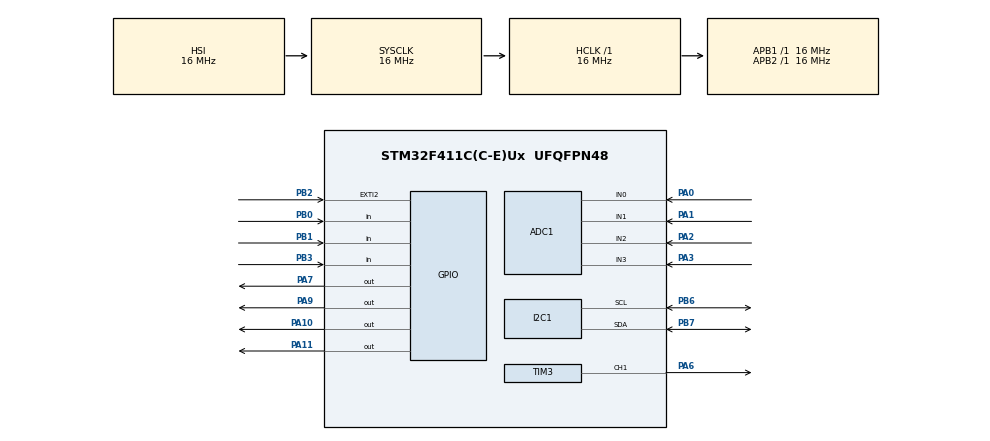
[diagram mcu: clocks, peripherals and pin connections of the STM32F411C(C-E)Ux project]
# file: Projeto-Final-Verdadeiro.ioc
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ADC1.Channel-0\#ChannelRegularConversion=ADC_CHANNEL_0
ADC1.Channel-1\#ChannelRegularConversion=ADC_CHANNEL_1
ADC1.Channel-2\#ChannelRegularConversion=ADC_CHANNEL_2
ADC1.Channel-3\#ChannelRegularConversion=ADC_CHANNEL_3
ADC1.DMAContinuousRequests=ENABLE
ADC1.ExternalTrigConv=ADC_EXTERNALTRIGCONV_T2_TRGO
ADC1.NbrOfConversion=4
ADC1.NbrOfConversionFlag=1
ADC1.Rank-0\#ChannelRegularConversion=1
ADC1.Rank-1\#ChannelRegularConversion=2
ADC1.Rank-2\#ChannelRegularConversion=3
ADC1.Rank-3\#ChannelRegularConversion=4
ADC1.SamplingTime-0\#ChannelRegularConversion=ADC_SAMPLETIME_3CYCLES
ADC1.SamplingTime-1\#ChannelRegularConversion=ADC_SAMPLETIME_3CYCLES
ADC1.SamplingTime-2\#ChannelRegularConversion=ADC_SAMPLETIME_3CYCLES
ADC1.SamplingTime-3\#ChannelRegularConversion=ADC_SAMPLETIME_3CYCLES
ADC1.ScanConvMode=ENABLE
ADC1.master=1
Dma.ADC1.0.Direction=DMA_PERIPH_TO_MEMORY
Dma.ADC1.0.FIFOMode=DMA_FIFOMODE_DISABLE
Dma.ADC1.0.Instance=DMA2_Stream0
Dma.ADC1.0.MemDataAlignment=DMA_MDATAALIGN_HALFWORD
Dma.ADC1.0.MemInc=DMA_MINC_ENABLE
Dma.ADC1.0.Mode=DMA_CIRCULAR
Dma.ADC1.0.PeriphDataAlignment=DMA_PDATAALIGN_HALFWORD
Dma.ADC1.0.PeriphInc=DMA_PINC_DISABLE
Dma.ADC1.0.Priority=DMA_PRIORITY_LOW
Dma.Request0=ADC1
Mcu.Family=STM32F4
Mcu.Name=STM32F411C(C-E)Ux
Mcu.Package=UFQFPN48
NVIC.DMA2_Stream0_IRQn=true\:0\:0\:false\:false\:true\:false\:true\:true
NVIC.PriorityGroup=NVIC_PRIORITYGROUP_4
NVIC.TIM4_IRQn=true\:0\:0\:false\:false\:true\:true\:true\:true
PA0-WKUP.Signal=ADCx_IN0
PA1.Signal=ADCx_IN1
PA10.Signal=GPIO_Output
PA11.Signal=GPIO_Output
PA2.Signal=ADCx_IN2
PA3.Signal=ADCx_IN3
PA6.Signal=S_TIM3_CH1
PA7.Signal=GPIO_Output
PA9.Signal=GPIO_Output
PB0.Signal=GPIO_Input
PB1.Signal=GPIO_Input
PB2.Signal=GPXTI2
PB3.Signal=GPIO_Input
PB6.Mode=I2C
PB6.Signal=I2C1_SCL
PB7.Mode=I2C
PB7.Signal=I2C1_SDA
PC14-OSC32_IN.Mode=LSE-External-Oscillator
PC14-OSC32_IN.Signal=RCC_OSC32_IN
PC15-OSC32_OUT.Mode=LSE-External-Oscillator
PC15-OSC32_OUT.Signal=RCC_OSC32_OUT
PH0\ -\ OSC_IN.Mode=HSE-External-Oscillator
PH0\ -\ OSC_IN.Signal=RCC_OSC_IN
PH1\ -\ OSC_OUT.Mode=HSE-External-Oscillator
PH1\ -\ OSC_OUT.Signal=RCC_OSC_OUT
ProjectManager.HeapSize=0x200
ProjectManager.StackSize=0x400
ProjectManager.TargetToolchain=STM32CubeIDE
RCC.AHBFreq_Value=16000000
RCC.APB1Freq_Value=16000000
RCC.APB2Freq_Value=16000000
RCC.CortexFreq_Value=16000000
RCC.HSE_VALUE=25000000
RCC.HSI_VALUE=16000000
RCC.SYSCLKFreq_VALUE=16000000
RCC.VCOOutputFreq_Value=192000000
SH.ADCx_IN0.0=ADC1_IN0,IN0
SH.ADCx_IN1.0=ADC1_IN1,IN1
SH.ADCx_IN2.0=ADC1_IN2,IN2
SH.ADCx_IN3.0=ADC1_IN3,IN3
SH.S_TIM3_CH1.0=TIM3_CH1,PWM Generation1 CH1
TIM2.Period=1599
TIM2.TIM_MasterOutputTrigger=TIM_TRGO_UPDATE
TIM2.TIM_MasterSlaveMode=TIM_MASTERSLAVEMODE_ENABLE
TIM3.Channel-PWM\ Generation1\ CH1=TIM_CHANNEL_1
TIM3.Period=15999
TIM4.Period=15999
TIM4.Prescaler=999
TIM4.TIM_MasterOutputTrigger=TIM_TRGO_UPDATE
VP_TIM2_VS_ClockSourceINT.Mode=Internal
VP_TIM3_VS_ClockSourceINT.Mode=Internal
VP_TIM4_VS_ClockSourceINT.Mode=Internal
board=custom

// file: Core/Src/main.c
/* USER CODE BEGIN Header */
/**
 ******************************************************************************
 * @file           : main.c
 * @brief          : Main program body (Medição de Tensão, Corrente e Potência True RMS)
 ******************************************************************************
 * @attention
 *
 * Copyright (c) 2025 STMicroelectronics.
 * All rights reserved.
 *
 * This software is licensed for use under terms that can be found in the LICENSE file
 * in the root directory of this software component.
 * If no LICENSE file comes with this software, is provided AS-IS.
 *
 ******************************************************************************
 */
/* USER CODE END Header */
#include "main.h"
#include "i2c_lcd.h"

/* USER CODE BEGIN Includes */
#include <math.h> // Necessário para sqrtf, fabsf (True RMS)
#include <stdlib.h> // Necessário para abs()
#include <string.h> // Necessário para comparação de strings (se for usada)
#include <stdio.h> // Necessário para snprintf (formatação de string para o LCD)
/* USER CODE END Includes */

/* USER CODE BEGIN PTD */
// Tipos de menu
typedef enum {
   WELCOME,      // Tela inicial (Esperando variação do Pot)
   SELECTION,    // Seleção de menu (Lendo Pot contínuo)
   LOCKED,       // Menu bloqueado (Esperando B3 para voltar)
   TARIFF_CONFIG // Configuração da Tarifa
} MenuState;
/* USER CODE END PTD */

/* USER CODE BEGIN PD */
// --- Parâmetros ---
// ADC_VALOR_MAXIMO (4095.0f)   // 12-bit ADC - utilizado para traduzir a leitura para corrente e tensão
//V_REF (3.3f)      // Tensão de referência do ADC (VCC a partir do qual ele apresenta os valores)
#define AMOSTRAS_POR_CICLO_DE_MEDICAO  (10000)      // Total de amostras por canal por janela de cálculo (aprox. 60 ciclos em 60Hz)
// --- Parâmetros de Gasto de Energia ---
#define TARIFF_MAX_VALUE    (1.50f)     // Valor máximo da tarifa (R$/kWh)
#define CALC_PERIOD_SECONDS (1.000f)    // Período de cálculo do TIM4 em segundos (~1.0s com a configuração atual)
#define FATOR_DE_CONVERSAO_PARA_KWH (1.0f / 3600000.0f) // Fator de conversão (1 / (3600 * 1000))
#define ADC_MAX_VALUE 4095
#define ADC_THRESHOLD (uint32_t)(ADC_MAX_VALUE * 0.05) // 5% de 4095 ≈ 204
// Definição dos pinos dos botões (PB0 e PB3 com PULL-UP)
#define BTN_SELECT_PIN GPIO_PIN_0 // B0
#define BTN_SELECT_PORT GPIOB
#define BTN_RETURN_PIN GPIO_PIN_3 // B3
#define BTN_RETURN_PORT GPIOB
#define BTN_CONFIG_PIN GPIO_PIN_1 // B1 - Botão de Acesso à Tarifa
#define BTN_CONFIG_PORT GPIOB
#define BLINK_PERIOD_MS 1000 // Período do piscar (1000ms = 1Hz)

/* USER CODE END PD */

ADC_HandleTypeDef hadc1;
DMA_HandleTypeDef hdma_adc1;

I2C_HandleTypeDef hi2c1;

TIM_HandleTypeDef htim2;
TIM_HandleTypeDef htim3;
TIM_HandleTypeDef htim4;

/* USER CODE BEGIN PV */
I2C_LCD_HandleTypeDef lcd1;

// --- Variáveis ---
uint16_t adc_buffer[AMOSTRAS_POR_CICLO_DE_MEDICAO * 4]; // 1. Buffer DMA para 4 canais (V, I, PA2/Menu, PA3/Tarifa)
char lcd_line_buffer[17];// Variável de buffer para a linha do LCD (16 caracteres + NULL)
float voltage_rms = 0.0f; // Tensão True RMS (Volts)
float voltage_avg = 0.0f; // Tensão Média Absoluta
float current_rms = 0.0f; // Corrente True RMS (Amperes)
float current_avg = 0.0f; // Corrente Média Absoluta
float apparent_power = 0.0f; // Potência Aparente (S - VA)
float active_power = 0.0f; // Potência Ativa (P - Watts)
float reactive_power = 0.0f; // Potência Reativa (Q - VAR)
float power_factor = 0.0f; // Fator de Potência (FP)
float energy_kwh = 0.0f;    // Energia Total Consumida Acumulada (kWh)
float energy_cost = 0.0f; // Custo Total Acumulado (R$)
float FATOR_DE_CORRECAO_DA_CORRENTE = 1.2;// Fator de escala para correção da corrente (V/ADC_V)
float FATOR_DE_CORRECAO_DA_TENSAO = 240; // Fator de escala para correção da Tensão (V/ADC_V)
float OFFSET_DO_MEDIDOR_DE_TENSAO = 3232.8;   // Ponto zero para o sensor de Tensão
float OFFSET_DA_CORRENTE = 2900.0; // Ponto zero para o sensor de corrente
uint16_t PONTO_ZERO_TENSAO_BRUTO = 0; // Leitura Média Bruta da Tensão (Para Calibrar OFFSET_DO_MEDIDOR_DE_TENSAO)
uint16_t PONTO_ZERO_CORRENTE_BRUTO = 0; // Leitura Média Bruta da Corrente (Para Calibrar OFFSET_DA_CORRENTE)
uint32_t current_menu_adc = 0; // Valor de 0 a 4095 (média do PA2) - Variáveis de Leitura dos Potenciômetros
uint32_t current_tarifa_adc = 0; // NOVO: Valor de 0 a 4095 (média do PA3)- Variáveis de Leitura dos Potenciômetros
// Variáveis do Menu
MenuState currentState = WELCOME;
uint32_t currentADCValue = 0; // Vai ser o 'current_menu_adc'
uint32_t lastADCValue = 0; // Vai ser o 'current_menu_adc' da leitura anterior
const char* selectedMenuText = ""; // Armazena a string selecionada quando B0 é pressionado (estado LOCKED)
const char* lastDisplayedMenuText = NULL;// VARIÁVEL ANTI-FLICKER.
// Variáveis de Tarifa
float tariff_value = 0.8458f; // Valor da tarifa SALVA (R$/kWh) - Inicializado com o valor anterior
float new_tariff_value_for_display = 0.0f; // Valor da tarifa em CONFIG (para ser ajustado)
// Variáveis dos Botões
uint32_t lastBtnSelectState = GPIO_PIN_SET; // B0
uint32_t lastBtnReturnState = GPIO_PIN_SET; // B3
uint32_t lastBtnConfigState = GPIO_PIN_SET; //  B1
uint32_t lastDebounceTime = 0;
/* USER CODE END PV */

void SystemClock_Config(void);
static void MX_GPIO_Init(void);
static void MX_DMA_Init(void);
static void MX_ADC1_Init(void);
static void MX_TIM4_Init(void);
static void MX_TIM2_Init(void);
static void MX_TIM3_Init(void);
static void MX_I2C1_Init(void);
/* USER CODE BEGIN PFP */
uint8_t checkButtons(void);
/* USER CODE END PFP */

/* USER CODE BEGIN 0 */
/**
 * @brief  Função de debounce e leitura dos botões (B0, B3 e B1).
 * @param  None
 * @retval 1 se BTN_SELECT (B0), 2 se BTN_RETURN (B3), 3 se BTN_CONFIG (B1), 0 caso contrário.
 */
uint8_t checkButtons(void)
{
   // Tempo atual
   uint32_t currentTick = HAL_GetTick();
   // Se o tempo decorrido desde o último debounce é menor que o DELAY 50, retorna 0 (Nenhum evento)
   if ((currentTick - lastDebounceTime) < 50) {
       return 0;
   }
   // 1=SELECT (B0), 2=RETURN (B3), 3=CONFIG (B1), 0=NONE
   uint8_t event = 0;

   // Checagem do Botão SELECT (B0)
   uint32_t currentBtnSelectState = HAL_GPIO_ReadPin(BTN_SELECT_PORT, BTN_SELECT_PIN);
   // B0 é pressionado (LOW)
   if (currentBtnSelectState != lastBtnSelectState) {
       // Se mudou de estado, e o estado atual é LOW (pressionado)
       if (currentBtnSelectState == GPIO_PIN_RESET) {
           // Evento de Pressionamento Detectado
           event = 1;
           lastDebounceTime = currentTick; // Atualiza o tempo para evitar múltiplos disparos
       }
   }
   lastBtnSelectState = currentBtnSelectState;

   // Checagem do Botão RETURN (B3)
   uint32_t currentBtnReturnState = HAL_GPIO_ReadPin(BTN_RETURN_PORT, BTN_RETURN_PIN);
   // B3 é pressionado
   if (currentBtnReturnState != lastBtnReturnState) {
       // Se mudou de estado
       if (currentBtnReturnState == GPIO_PIN_RESET) {
           // Evento de Pressionamento Detectado
           // B3 tem prioridade de "Return" ou "Exit"
           event = 2;
           lastDebounceTime = currentTick; // Atualiza o tempo para evitar múltiplos disparos
       }
   }
   lastBtnReturnState = currentBtnReturnState;

   // Checagem do Botão CONFIG (B1)
   uint32_t currentBtnConfigState = HAL_GPIO_ReadPin(BTN_CONFIG_PORT, BTN_CONFIG_PIN);
   // B1 é pressionado (LOW, pois usa PULL-UP)
   if (currentBtnConfigState != lastBtnConfigState) {
       // Se mudou de estado
       if (currentBtnConfigState == GPIO_PIN_RESET) {
           // Evento de Pressionamento Detectado
           event = 3; // Evento 3 para CONFIG
           lastDebounceTime = currentTick;
       }
   }
   lastBtnConfigState = currentBtnConfigState;

   return event;
}
/*
* Função de Callback do Timer: É chamada quando o TIM4 alcança o período (1.0s)
* para calcular todas as grandezas (RMS, Potência, Energia).
*/
void HAL_TIM_PeriodElapsedCallback(TIM_HandleTypeDef *htim)
{
	// Se a interrupção veio do TIM4 (nosso Timer de Janela de Cálculo)
	if (htim->Instance == TIM4)
	{
		// Acumuladores para Tensão e Corrente (RMS e Média)
		float v_sum_of_squares = 0.0f;
		float v_sum_of_absolute_values = 0.0f;
		float i_sum_of_squares = 0.0f;
		float i_sum_of_absolute_values = 0.0f;
		float p_sum_of_products = 0.0f;// Acumulador para Potência Ativa (P) - Média do produto instantâneo v(t) * i(t)
		uint32_t SOMA_DO_VALOR_BRUTO_DA_CORRENTE = 0; // Para calibração de corrente (DC Offset)
		uint32_t SOMA_DO_VALOR_BRUTO_DA_TENSAO = 0; // Para calibração de tensão (DC Offset)
        uint32_t SOMA_DO_VALOR_BRUTO_DO_MENU = 0; // Para o Potenciômetro (PA2)
        uint32_t SOMA_DO_VALOR_BRUTO_DA_TARIFA = 0; //  Para o Potenciômetro da Tarifa (PA3)

		// O buffer contém: [V0, I0, MENU_POT0, TARIFA_POT0, V1, I1, MENU_POT1, TARIFA_POT1, ...]
		// Iteramos pelo número de amostras POR CANAL (SAMPLES_PER_WINDOW)
		for (uint32_t i = 0; i < AMOSTRAS_POR_CICLO_DE_MEDICAO; i++)
		{
			// Os índices usam i * 4 para pular entre amostras do mesmo canal
			float raw_v_val = (float)adc_buffer[i * 4];        // Posição 0 (PA0 - V)
			float raw_i_val = (float)adc_buffer[i * 4 + 1];    // Posição 1 (PA1 - I)
            uint32_t raw_menu_val = adc_buffer[i * 4 + 2];     // Posição 2 (PA2 - Menu Pot)
            uint32_t raw_tarifa_val = adc_buffer[i * 4 + 3];   // Posição 3 (PA3 - Tarifa Pot) <-- LEITURA DO PA3

			// Acumula o valor bruto dos potenciômetros
			SOMA_DO_VALOR_BRUTO_DO_MENU += raw_menu_val;
            SOMA_DO_VALOR_BRUTO_DA_TARIFA += raw_tarifa_val; // NOVO ACUMULADOR

			// === 1. CENTRAlizando em 0 e ESCALA (Tensão) ===
			SOMA_DO_VALOR_BRUTO_DA_TENSAO += (uint32_t)raw_v_val; // Acumula o valor bruto da Tensão (para debug/calibração)
			float v_adc_centered = (raw_v_val - OFFSET_DO_MEDIDOR_DE_TENSAO) * (3.3 / 4095);// Centralizando em 0
			float v_rede = v_adc_centered * FATOR_DE_CORRECAO_DA_TENSAO;
			v_sum_of_squares += v_rede * v_rede; // Tensão real ao quadrado somada para RMS
			v_sum_of_absolute_values += fabsf(v_rede); // Valor absoluto dessa soma para média retificada

			// === 2. CENTRAlizando em 0 e ESCALA (Corrente) ===
			SOMA_DO_VALOR_BRUTO_DA_CORRENTE += (uint32_t)raw_i_val; // Acumula o valor bruto da Corrente (para debug/calibração)
			float i_adc_centered = (raw_i_val - OFFSET_DA_CORRENTE) * (3.3 / 4095);// Centralizando em 0
			float i_rede = i_adc_centered * FATOR_DE_CORRECAO_DA_CORRENTE;// Correcao para valor medido multimetro
			i_sum_of_squares += i_rede * i_rede;
			i_sum_of_absolute_values += fabsf(i_rede);// média retificada

			// === 3. CÁLCULO DA POTÊNCIA INSTANTÂNEA ===
			// P_instantanea = v(t) * i(t)
			p_sum_of_products += v_rede * i_rede; // para calculo da potência ativa
		}

		// --- CÁLCULOS FINAIS ---
		if (AMOSTRAS_POR_CICLO_DE_MEDICAO > 0)
		{
			// Tensão RMS e Média
			voltage_rms = sqrtf(v_sum_of_squares / AMOSTRAS_POR_CICLO_DE_MEDICAO);
			voltage_avg = v_sum_of_absolute_values / AMOSTRAS_POR_CICLO_DE_MEDICAO;
			// Corrente RMS e Média
			current_rms = sqrtf(i_sum_of_squares / AMOSTRAS_POR_CICLO_DE_MEDICAO);
			current_avg = i_sum_of_absolute_values / AMOSTRAS_POR_CICLO_DE_MEDICAO;

			// Cálculo da Média dos Potenciômetros (PA2 e PA3)
			current_menu_adc = SOMA_DO_VALOR_BRUTO_DO_MENU / AMOSTRAS_POR_CICLO_DE_MEDICAO;
            current_tarifa_adc = SOMA_DO_VALOR_BRUTO_DA_TARIFA / AMOSTRAS_POR_CICLO_DE_MEDICAO; // NOVO CÁLCULO DE MÉDIA

			// Debug do Ponto Zero (Offset Bruto)
			PONTO_ZERO_TENSAO_BRUTO = (uint16_t)(SOMA_DO_VALOR_BRUTO_DA_TENSAO / AMOSTRAS_POR_CICLO_DE_MEDICAO);
			PONTO_ZERO_CORRENTE_BRUTO = (uint16_t)(SOMA_DO_VALOR_BRUTO_DA_CORRENTE / AMOSTRAS_POR_CICLO_DE_MEDICAO);

			// Potência Ativa (P)
			// P = Média da Potência Instantânea
			active_power = p_sum_of_products / AMOSTRAS_POR_CICLO_DE_MEDICAO;
			// Potência Aparente (S)
			// S = V_RMS * I_RMS
			apparent_power = voltage_rms * current_rms;
			// Fator de Potência (FP)
			// FP = P / S. Evita divisão por zero.
			if (apparent_power > 0.001f) {
				// Usa fabsf() pois o FP é geralmente um valor positivo
				power_factor = fabsf(active_power / apparent_power);
			} else {
				power_factor = 0.0f;
			}
			// Potência Reativa (Q)
			// Q = sqrt(S^2 - P^2)
			// Usa fabsf no resultado da subtração para evitar erros de ponto flutuante
			// que poderiam resultar em raiz quadrada de um número negativo.
			float S_squared = apparent_power * apparent_power;
			float P_squared = active_power * active_power;
			reactive_power = sqrtf(fabsf(S_squared - P_squared));

			// === CÁLCULO DE ENERGIA E CUSTO ===
			// 1. Apenas acumula energia se a potência for positiva (consumo)
			if (active_power > 0.0f)
			{
				// E (Watt-segundos/intervalo) = P (Watts) * TEMPO (s)
				float energy_watt_seconds = active_power * CALC_PERIOD_SECONDS;
				// Converte para kWh e acumula
				float energy_kwh_interval = energy_watt_seconds * FATOR_DE_CONVERSAO_PARA_KWH;
				energy_kwh += energy_kwh_interval;
				// 2. Custo Total = Energia Total (kWh) * Preço (R$/kWh)
				energy_cost = energy_kwh * tariff_value; // USANDO VARIÁVEL GLOBAL
			}
		}
	}
}
/* USER CODE END 0 */

int main(void)
{

  /* MCU Configuration--------------------------------------------------------*/

  /* Reset of all peripherals, Initializes the Flash interface and the Systick. */
  HAL_Init();

  /* Configure the system clock */
  SystemClock_Config();

  /* Initialize all configured peripherals */
  MX_GPIO_Init();
  MX_DMA_Init();
  MX_ADC1_Init();
  MX_TIM4_Init();
  MX_TIM2_Init();
  MX_TIM3_Init();
  MX_I2C1_Init();
  /* USER CODE BEGIN 2 */
 // 1. Configura o handle do LCD
   lcd1.hi2c = &hi2c1;
   lcd1.address = 0x4E; // Endereço I2C do módulo PCF8574 (0x27 << 1 = 0x4E)
   // 2. Inicializa o LCD
   lcd_init(&lcd1);
   // 3. Tela de Bem Vindo Inicial (Redesenha apenas aqui)
   lcd_clear(&lcd1);
   lcd_gotoxy(&lcd1, 0, 0);
   lcd_puts(&lcd1, "  BEM VINDO!    ");
   lcd_gotoxy(&lcd1, 0, 1);
   lcd_puts(&lcd1, "   Gire o Pot   ");
 // Define o estado inicial do display para WELCOME (impede redesenho desnecessário no loop)
   lastDisplayedMenuText = "WELCOME";
 // 4. lastADCValue é inicializado para que a primeira variação seja detectada
   lastADCValue = 0;
 // 5. Inicia a aquisição contínua do ADC via DMA (Circular)
 // O tamanho é agora * 4 (Tensão, Corrente, Menu Pot, Tarifa Pot).
 if (HAL_ADC_Start_DMA(&hadc1, (uint32_t*)adc_buffer, AMOSTRAS_POR_CICLO_DE_MEDICAO * 4) != HAL_OK)
 {
	  Error_Handler(); // Falha ao iniciar o DMA
 }
 // 6. Inicia o Timer de Amostragem (TIM2) - Dispara o ADC a 10kHz
 if (HAL_TIM_Base_Start(&htim2) != HAL_OK)
 {
	  Error_Handler(); // Falha ao iniciar o TIM2
 }
 // 7. Inicia o Timer de Janela de Cálculo (TIM4) com Interrupção (IT)
 // O TIM4 chamará HAL_TIM_PeriodElapsedCallback a cada ~1.0 segundo (configurado em MX_TIM4_Init).
 if (HAL_TIM_Base_Start_IT(&htim4) != HAL_OK)
 {
	  Error_Handler(); // Falha ao iniciar o TIM4
 }
 // 8. Inicia o PWM para o LED (PA6 / TIM3 CH1)
 if (HAL_TIM_PWM_Start(&htim3, TIM_CHANNEL_1) != HAL_OK)
 {
	  Error_Handler(); // Falha ao iniciar o PWM
 }
  /* USER CODE END 2 */

  /* Infinite loop */
 while (1)
 {

    /* USER CODE BEGIN 3 */
	    // --- LÓGICA DE CONTROLE DO PWM (LED PA6) ---
	    // O Period do TIM3 é 15999, então 15999 é 100% de duty cycle.
	    uint32_t pwm_duty = 0;
	    uint32_t current_time = HAL_GetTick();
	    if (voltage_rms > 120.0f)
	    {
	        // CONDIÇÃO 2: Tensão ALTA (> 120V) -> LED LIGADO CONSTANTE (100% Duty)
	        pwm_duty = htim3.Init.Period; // 15999
	    }
	    else if (voltage_rms < 20.0f)
	    {
	        // CONDIÇÃO 1: Tensão BAIXA (< 20V) -> LED PISCANDO (50% ON / 50% OFF)
	        // Verifica se o tempo atual está na metade "LIGADO" do período de BLINK (500ms ON / 500ms OFF)
	        if ((current_time % BLINK_PERIOD_MS) < (BLINK_PERIOD_MS / 2))
	        {
	            pwm_duty = htim3.Init.Period; // LIGA (100% Duty)
	        }
	        else
	        {
	            pwm_duty = 0; // DESLIGA (0% Duty)
	        }
	    }
	    else
	    {
	        // CONDIÇÃO 3: Tensão NORMAL (20V <= V_rms <= 120V) -> LED DESLIGADO CONSTANTE (0% Duty)
	        pwm_duty = 0;
	    }
	    // Aplica o Duty Cycle calculado ao Canal 1 do TIM3 (PA6)
	    __HAL_TIM_SET_COMPARE(&htim3, TIM_CHANNEL_1, pwm_duty);

	    // --- LÓGICA DO LED DE CARGA (PA7, PA9, PA10, PA11) ---
	    if (current_rms > 0.2)
	        {
	          // LIGA o LED no pino PA7
	          HAL_GPIO_WritePin(GPIOA, GPIO_PIN_7, GPIO_PIN_SET);
	        }
	        else
	        {
	          // DESLIGA o LED no pino PA7
	          HAL_GPIO_WritePin(GPIOA, GPIO_PIN_7, GPIO_PIN_RESET);
	        }
	    if (current_rms > 0.4 && current_rms < 0.8)
	    	        {
	    	          // LIGA o LED no pino PA10
	    	          HAL_GPIO_WritePin(GPIOA, GPIO_PIN_10, GPIO_PIN_SET);
	    	          HAL_GPIO_WritePin(GPIOA, GPIO_PIN_11, GPIO_PIN_RESET);
	    	          HAL_GPIO_WritePin(GPIOA, GPIO_PIN_9, GPIO_PIN_RESET);
	    	        }
	    	        else
	    	        {
	    	          // DESLIGA o LED no pino PA10
	    	          HAL_GPIO_WritePin(GPIOA, GPIO_PIN_10, GPIO_PIN_RESET);
	    	        }
	    if (current_rms > 0.8 && current_rms < 1.2)
	    	        {
	    	          // LIGA o LED no pino PA9
	    	          HAL_GPIO_WritePin(GPIOA, GPIO_PIN_9, GPIO_PIN_SET);
	    	          HAL_GPIO_WritePin(GPIOA, GPIO_PIN_11, GPIO_PIN_RESET);
	    	        }
	    	        else
	    	        {
	    	          // DESLIGA o LED no pino PA9
	    	          HAL_GPIO_WritePin(GPIOA, GPIO_PIN_9, GPIO_PIN_RESET);
	    	        }
	    if (current_rms > 1.2)
	    	        {
	    	          // LIGA o LED no pino PA9
	    	          HAL_GPIO_WritePin(GPIOA, GPIO_PIN_11, GPIO_PIN_SET);
	    	          HAL_GPIO_WritePin(GPIOA, GPIO_PIN_10, GPIO_PIN_RESET);
	    	          HAL_GPIO_WritePin(GPIOA, GPIO_PIN_9, GPIO_PIN_RESET);
	    	        }
	    	        else
	    	        {
	    	          // DESLIGA o LED no pino PA9
	    	          HAL_GPIO_WritePin(GPIOA, GPIO_PIN_11, GPIO_PIN_RESET);
	    	        }

	    //LÓGICA DE MENU DO LCD
	  	// currentADCValue recebe o valor médio do PA2 calculado no TIM4
	        currentADCValue = current_menu_adc; // Usa o valor médio do Potenciômetro
	        uint8_t buttonEvent = checkButtons(); // 1=B0 (SELECT), 2=B3 (RETURN), 3=B1 (CONFIG)
	        const char* currentMenuText = NULL;

            if (buttonEvent == 3) { // B1 pressionado
                if (currentState == TARIFF_CONFIG) {
                    // Já está em CONFIG, B1 é um comando de SALVAR e SAIR (Toggle)
                    tariff_value = new_tariff_value_for_display; // Salva o novo valor na variável global
                    lastDisplayedMenuText = "WELCOME";
                    currentState = WELCOME;

                    // Feedback: TARIFA SALVA
                    lcd_clear(&lcd1);
                    lcd_gotoxy(&lcd1, 0, 0);
                    lcd_puts(&lcd1, " TARIFA SALVA!  ");
                    HAL_Delay(1000);
                    // Redesenha a tela de Bem Vindo
                    lcd_clear(&lcd1);
                    lcd_gotoxy(&lcd1, 0, 0);
                    lcd_puts(&lcd1, "  BEM VINDO!    ");
                    lcd_gotoxy(&lcd1, 0, 1);
                    lcd_puts(&lcd1, "   Gire o Pot   ");

                } else {
                    // Não está em CONFIG, B1 é um comando de ENTRAR em CONFIG
                    currentState = TARIFF_CONFIG;
                    lastDisplayedMenuText = NULL; // Força o redesenho da tela de Tarifa
                    HAL_Delay(50);
                }
                buttonEvent = 0;
            }

	        switch (currentState) {
	            case WELCOME:
	                // 1. A tela de boas-vindas é mantida
	                // 2. Transição para SELECTION (se variação > 5%)
	                // Verifica a variação do potenciômetro (usando o valor médio estabilizado)

	                if (abs((int32_t)currentADCValue - (int32_t)lastADCValue) > (int32_t)ADC_THRESHOLD) {
	                    lastADCValue = currentADCValue;
	                    lastDisplayedMenuText = NULL; // Força o primeiro redesenho em SELECTION
	                    currentState = SELECTION;
	                }
	                break;

	            case SELECTION:
	                // 1. Determinação da String do Menu (Lógica de if/else if baseada no valor do ADC)
	                if (currentADCValue <= 409) {
	                    currentMenuText = "Tensao media";
	                } else if (currentADCValue <= 819) {
	                    currentMenuText = "Tensao RMS";
	                } else if (currentADCValue <= 1228) {
	                    currentMenuText = "Corrente RMS";
	                } else if (currentADCValue <= 1638) {
	                    currentMenuText = "Corrente media";
	                } else if (currentADCValue <= 2047) {
	                    currentMenuText = "Potencia ativa";
	                } else if (currentADCValue <= 2457) {
	                    currentMenuText = "Potencia Reativa";
	                } else if (currentADCValue <= 2867) {
	                    currentMenuText = "Potencia aparente";
	                } else if (currentADCValue <= 3276) {
	                    currentMenuText = "FP";
	                } else if (currentADCValue <= 3685) {
	                    currentMenuText = "Consumo";
	                } else {
	                    currentMenuText = "Gasto em Energia";
	                }
	                // 2. **ANTI-FLICKER:** Só redesenha se o texto for diferente do anterior
	                if (currentMenuText != lastDisplayedMenuText) {
	                    lcd_clear(&lcd1);
	                    lcd_gotoxy(&lcd1, 0, 0);
	                    lcd_puts(&lcd1, ">> SELECIONE: <<");
	                    lcd_gotoxy(&lcd1, 0, 1);
	                    // Limpa a linha 1 antes de exibir, para garantir que não sobra lixo
	                    lcd_puts(&lcd1, "                "); // 16 espaços em branco
	                    lcd_gotoxy(&lcd1, 0, 1);
	                    lcd_puts(&lcd1, (char*)currentMenuText);
	                    lastDisplayedMenuText = currentMenuText;
	                }
	                // 3. Transição para LOCKED (se B0 for pressionado)
	                if (buttonEvent == 1) { // Evento B0 (Select)
	                    selectedMenuText = currentMenuText; // Salva a string
	                    lastDisplayedMenuText = NULL; // Força o redesenho único em LOCKED (na próxima iteração)
	                    currentState = LOCKED;
	                }
	                // 4. Transição para WELCOME (se B3 for pressionado)
	                if (buttonEvent == 2) { // Evento B3 (Return)
	                    lastDisplayedMenuText = "WELCOME"; // Marca o texto de WELCOME como exibido
	                    currentState = WELCOME;
	                    // Redesenha a tela de Bem Vindo APENAS UMA VEZ ao voltar do menu
	                    lcd_clear(&lcd1);
	                    lcd_gotoxy(&lcd1, 0, 0);
	                    lcd_puts(&lcd1, "  BEM VINDO!    ");
	                    lcd_gotoxy(&lcd1, 0, 1);
	                    lcd_puts(&lcd1, "   Gire o Pot   ");
	                }
	                // Atualiza lastADCValue para a próxima checagem de 5%
	                lastADCValue = currentADCValue;
	                break;

	            case LOCKED:
	                // 1. ANTI-FLICKER: Desenha o cabeçalho (opção fixada) APENAS uma vez
	                if (lastDisplayedMenuText == NULL) {
	                    lcd_clear(&lcd1);
	                    lcd_gotoxy(&lcd1, 0, 0);
	                    // O selectedMenuText agora vai para a linha 0 como título
	                    lcd_puts(&lcd1, (char*)selectedMenuText);
	                    lastDisplayedMenuText = selectedMenuText; // Marca o título como desenhado
	                }
	                // 2. Formata e exibe o valor da variável (REPETITIVO)
	                // Uso de int e float-to-int para simular %f em snprintf lite.
	                if (strstr(selectedMenuText, "Tensao media") != NULL) {
	                    // %.1f Vavg
	                    int whole = (int)voltage_avg;
	                    int fractional = (int)(fabsf(voltage_avg) * 10.0f) % 10;
	                    snprintf(lcd_line_buffer, sizeof(lcd_line_buffer), "%d.%d V", whole, fractional);
	                } else if (strstr(selectedMenuText, "Tensao RMS") != NULL) {
	                    // %.1f VRMS
	                    int whole = (int)voltage_rms;
	                    int fractional = (int)(fabsf(voltage_rms) * 10.0f) % 10;
	                    snprintf(lcd_line_buffer, sizeof(lcd_line_buffer), "%d.%d VRMS", whole, fractional);
	                } else if (strstr(selectedMenuText, "Corrente RMS") != NULL) {
	                    // %.2f ARMS
	                    int whole = (int)current_rms;
	                    int fractional = (int)(fabsf(current_rms) * 100.0f) % 100;
	                    snprintf(lcd_line_buffer, sizeof(lcd_line_buffer), "%d.%02d ARMS", whole, fractional);
	                } else if (strstr(selectedMenuText, "Corrente media") != NULL) {
	                    // %.2f Aavg
	                    int whole = (int)current_avg;
	                    int fractional = (int)(fabsf(current_avg) * 100.0f) % 100;
	                    snprintf(lcd_line_buffer, sizeof(lcd_line_buffer), "%d.%02d A", whole, fractional);
	                } else if (strstr(selectedMenuText, "Potencia ativa") != NULL) {
	                    // %.1f W (Mantém o sinal no whole se o valor for negativo)
	                    int whole = (int)active_power;
	                    int fractional = (int)(fabsf(active_power) * 10.0f) % 10;
	                    // Ajuste para garantir que o sinal de negativo apareça corretamente se a parte inteira for negativa
	                    if (whole < 0) {
	                        snprintf(lcd_line_buffer, sizeof(lcd_line_buffer), "%d.%d W", whole, fractional);
	                    } else {
	                        snprintf(lcd_line_buffer, sizeof(lcd_line_buffer), "%d.%d W", whole, fractional);
	                    }
	                } else if (strstr(selectedMenuText, "Potencia Reativa") != NULL) {
	                    // %.1f VAR
	                    int whole = (int)reactive_power;
	                    int fractional = (int)(fabsf(reactive_power) * 10.0f) % 10;
	                    snprintf(lcd_line_buffer, sizeof(lcd_line_buffer), "%d.%d VAR", whole, fractional);
	                } else if (strstr(selectedMenuText, "Potencia aparente") != NULL) {
	                    // %.1f VA
	                    int whole = (int)apparent_power;
	                    int fractional = (int)(fabsf(apparent_power) * 10.0f) % 10;
	                    snprintf(lcd_line_buffer, sizeof(lcd_line_buffer), "%d.%d VA", whole, fractional);
	                } else if (strstr(selectedMenuText, "FP") != NULL) {
	                    // FP: 0.XX
	                    int decimal = (int)(power_factor * 100.0f);
	                    snprintf(lcd_line_buffer, sizeof(lcd_line_buffer), "FP: 0.%02d", decimal);
	                } else if (strstr(selectedMenuText, "Consumo") != NULL) {
	                    // %.3f kWh
	                    int whole = (int)energy_kwh;
	                    int fractional = (int)(fabsf(energy_kwh) * 1000.0f) % 1000;
	                    snprintf(lcd_line_buffer, sizeof(lcd_line_buffer), "%d.%03d kWh", whole, fractional);
	                } else if (strstr(selectedMenuText, "Gasto em Energia") != NULL) {
	                    // R$ %.2f
	                    int whole = (int)energy_cost;
	                    int fractional = (int)(fabsf(energy_cost) * 100.0f) % 100;
	                    snprintf(lcd_line_buffer, sizeof(lcd_line_buffer), "R$ %d.%02d", whole, fractional);
	                } else {
	                    // Fallback se a string não for reconhecida
	                    snprintf(lcd_line_buffer, sizeof(lcd_line_buffer), "ERRO MENU");
	                }
	                // Limpa a linha 1 antes de colocar o novo valor (para apagar o que sobrou)
	                lcd_gotoxy(&lcd1, 0, 1);
	                lcd_puts(&lcd1, "                "); // 16 espaços em branco
	                lcd_gotoxy(&lcd1, 0, 1);
	                // Exibe o valor do buffer na linha 1 (índice 1)
	                lcd_puts(&lcd1, lcd_line_buffer);

	                // 3. Transição para SELECTION (se B3 for pressionado)
	                if (buttonEvent == 2) { // Evento B3 (Return)
	                    lastDisplayedMenuText = NULL; // Força o redesenho em SELECTION (na próxima iteração)
	                    currentState = SELECTION;
	                }
	                break;

            case TARIFF_CONFIG:
              // --- TELA DE CONFIGURAÇÃO DE TARIFA ---

              // 1. Mapeamento do Potenciômetro (PA3)
              // PA3 (0 a 4095) mapeia para 0.00 a TARIFF_MAX_VALUE (1.50 R$/kWh)
              new_tariff_value_for_display = (float)current_tarifa_adc * TARIFF_MAX_VALUE / 4095;

              // 2. **ANTI-FLICKER:** Desenha o cabeçalho APENAS uma vez
              if (lastDisplayedMenuText == NULL) {
                  lcd_clear(&lcd1);
                  lcd_gotoxy(&lcd1, 0, 0);
                  lcd_puts(&lcd1, "    TARIFA      ");
                  lastDisplayedMenuText = "TARIFF_CONFIG";
              }

              // 3. Formata e exibe o valor da variável
              // Isso permite que o valor se altere na tela em tempo real com o potenciômetro
              int whole_tar = (int)new_tariff_value_for_display;
              int fractional_tar = (int)(fabsf(new_tariff_value_for_display) * 1000.0f) % 1000;

              lcd_gotoxy(&lcd1, 0, 1);
              lcd_puts(&lcd1, "                "); // Limpa a linha
              lcd_gotoxy(&lcd1, 0, 1);
              // Exibe R$ X.XXX/kWh (3 casas decimais)
              snprintf(lcd_line_buffer, sizeof(lcd_line_buffer), "R$ %d.%03d/kWh", whole_tar, fractional_tar);
              lcd_puts(&lcd1, lcd_line_buffer);

              // 4. Transição de SALVAR/SAIR com B0 (SELECT)
              if (buttonEvent == 1) { // Evento B0 (SELECT) pressionado: SALVA E SAI
                  tariff_value = new_tariff_value_for_display; // Salva o novo valor na variável global

                  // Retorna para a tela inicial WELCOME
                  lastDisplayedMenuText = "WELCOME";
                  currentState = WELCOME;

                  // Feedback: TARIFA SALVA
                  lcd_clear(&lcd1);
                  lcd_gotoxy(&lcd1, 0, 0);
                  lcd_puts(&lcd1, " TARIFA SALVA!  ");
                  HAL_Delay(1000);
                  // Redesenha a tela de Bem Vindo
                  lcd_clear(&lcd1);
                  lcd_gotoxy(&lcd1, 0, 0);
                  lcd_puts(&lcd1, "  BEM VINDO!    ");
                  lcd_gotoxy(&lcd1, 0, 1);
                  lcd_puts(&lcd1, "   Gire o Pot   ");

              } else if (buttonEvent == 2) { // Evento B3 (RETURN) pressionado: SAI SEM SALVAR
                  lastDisplayedMenuText = "WELCOME";
                  currentState = WELCOME;

                  // Redesenha a tela de Bem Vindo
                  lcd_clear(&lcd1);
                  lcd_gotoxy(&lcd1, 0, 0);
                  lcd_puts(&lcd1, "  BEM VINDO!    ");
                  lcd_gotoxy(&lcd1, 0, 1);
                  lcd_puts(&lcd1, "   Gire o Pot   ");
              }
              break;

	            default: // Caso de fallback
	                currentState = WELCOME;
	                break;
	        }
	    HAL_Delay(50); // Atraso para botão
  }
  /* USER CODE END 3 */
}

void SystemClock_Config(void)
{
  RCC_OscInitTypeDef RCC_OscInitStruct = {0};
  RCC_ClkInitTypeDef RCC_ClkInitStruct = {0};

  /** Configure the main internal regulator output voltage
  */
  __HAL_RCC_PWR_CLK_ENABLE();
  __HAL_PWR_VOLTAGESCALING_CONFIG(PWR_REGULATOR_VOLTAGE_SCALE1);

  /** Initializes the RCC Oscillators according to the specified parameters
  * in the RCC_OscInitTypeDef structure.
  */
  RCC_OscInitStruct.OscillatorType = RCC_OSCILLATORTYPE_HSI;
  RCC_OscInitStruct.HSIState = RCC_HSI_ON;
  RCC_OscInitStruct.HSICalibrationValue = RCC_HSICALIBRATION_DEFAULT;
  RCC_OscInitStruct.PLL.PLLState = RCC_PLL_NONE;
  if (HAL_RCC_OscConfig(&RCC_OscInitStruct) != HAL_OK)
  {
    Error_Handler();
  }

  /** Initializes the CPU, AHB and APB buses clocks
  */
  RCC_ClkInitStruct.ClockType = RCC_CLOCKTYPE_HCLK|RCC_CLOCKTYPE_SYSCLK
                              |RCC_CLOCKTYPE_PCLK1|RCC_CLOCKTYPE_PCLK2;
  RCC_ClkInitStruct.SYSCLKSource = RCC_SYSCLKSOURCE_HSI;
  RCC_ClkInitStruct.AHBCLKDivider = RCC_SYSCLK_DIV1;
  RCC_ClkInitStruct.APB1CLKDivider = RCC_HCLK_DIV1;
  RCC_ClkInitStruct.APB2CLKDivider = RCC_HCLK_DIV1;

  if (HAL_RCC_ClockConfig(&RCC_ClkInitStruct, FLASH_LATENCY_0) != HAL_OK)
  {
    Error_Handler();
  }
}

static void MX_ADC1_Init(void)
{

  ADC_ChannelConfTypeDef sConfig = {0};

  /** Configure the global features of the ADC (Clock, Resolution, Data Alignment and number of conversion)
  */
  hadc1.Instance = ADC1;
  hadc1.Init.ClockPrescaler = ADC_CLOCK_SYNC_PCLK_DIV2;
  hadc1.Init.Resolution = ADC_RESOLUTION_12B;
  hadc1.Init.ScanConvMode = ENABLE;
  hadc1.Init.ContinuousConvMode = DISABLE;
  hadc1.Init.DiscontinuousConvMode = DISABLE;
  hadc1.Init.ExternalTrigConvEdge = ADC_EXTERNALTRIGCONVEDGE_RISING;
  hadc1.Init.ExternalTrigConv = ADC_EXTERNALTRIGCONV_T2_TRGO;
  hadc1.Init.DataAlign = ADC_DATAALIGN_RIGHT;
  hadc1.Init.NbrOfConversion = 4;
  hadc1.Init.DMAContinuousRequests = ENABLE;
  hadc1.Init.EOCSelection = ADC_EOC_SINGLE_CONV;
  if (HAL_ADC_Init(&hadc1) != HAL_OK)
  {
    Error_Handler();
  }

  /** Configure for the selected ADC regular channel its corresponding rank in the sequencer and its sample time.
  */
  sConfig.Channel = ADC_CHANNEL_0;
  sConfig.Rank = 1;
  sConfig.SamplingTime = ADC_SAMPLETIME_3CYCLES;
  if (HAL_ADC_ConfigChannel(&hadc1, &sConfig) != HAL_OK)
  {
    Error_Handler();
  }

  /** Configure for the selected ADC regular channel its corresponding rank in the sequencer and its sample time.
  */
  sConfig.Channel = ADC_CHANNEL_1;
  sConfig.Rank = 2;
  if (HAL_ADC_ConfigChannel(&hadc1, &sConfig) != HAL_OK)
  {
    Error_Handler();
  }

  /** Configure for the selected ADC regular channel its corresponding rank in the sequencer and its sample time.
  */
  sConfig.Channel = ADC_CHANNEL_2;
  sConfig.Rank = 3;
  if (HAL_ADC_ConfigChannel(&hadc1, &sConfig) != HAL_OK)
  {
    Error_Handler();
  }

  /** Configure for the selected ADC regular channel its corresponding rank in the sequencer and its sample time.
  */
  sConfig.Channel = ADC_CHANNEL_3;
  sConfig.Rank = 4;
  if (HAL_ADC_ConfigChannel(&hadc1, &sConfig) != HAL_OK)
  {
    Error_Handler();
  }

}

static void MX_I2C1_Init(void)
{

  hi2c1.Instance = I2C1;
  hi2c1.Init.ClockSpeed = 100000;
  hi2c1.Init.DutyCycle = I2C_DUTYCYCLE_2;
  hi2c1.Init.OwnAddress1 = 0;
  hi2c1.Init.AddressingMode = I2C_ADDRESSINGMODE_7BIT;
  hi2c1.Init.DualAddressMode = I2C_DUALADDRESS_DISABLE;
  hi2c1.Init.OwnAddress2 = 0;
  hi2c1.Init.GeneralCallMode = I2C_GENERALCALL_DISABLE;
  hi2c1.Init.NoStretchMode = I2C_NOSTRETCH_DISABLE;
  if (HAL_I2C_Init(&hi2c1) != HAL_OK)
  {
    Error_Handler();
  }

}

static void MX_TIM2_Init(void)
{

  TIM_ClockConfigTypeDef sClockSourceConfig = {0};
  TIM_MasterConfigTypeDef sMasterConfig = {0};

  htim2.Instance = TIM2;
  htim2.Init.Prescaler = 0;
  htim2.Init.CounterMode = TIM_COUNTERMODE_UP;
  htim2.Init.Period = 1599;
  htim2.Init.ClockDivision = TIM_CLOCKDIVISION_DIV1;
  htim2.Init.AutoReloadPreload = TIM_AUTORELOAD_PRELOAD_DISABLE;
  if (HAL_TIM_Base_Init(&htim2) != HAL_OK)
  {
    Error_Handler();
  }
  sClockSourceConfig.ClockSource = TIM_CLOCKSOURCE_INTERNAL;
  if (HAL_TIM_ConfigClockSource(&htim2, &sClockSourceConfig) != HAL_OK)
  {
    Error_Handler();
  }
  sMasterConfig.MasterOutputTrigger = TIM_TRGO_UPDATE;
  sMasterConfig.MasterSlaveMode = TIM_MASTERSLAVEMODE_ENABLE;
  if (HAL_TIMEx_MasterConfigSynchronization(&htim2, &sMasterConfig) != HAL_OK)
  {
    Error_Handler();
  }

}

static void MX_TIM3_Init(void)
{

  TIM_ClockConfigTypeDef sClockSourceConfig = {0};
  TIM_MasterConfigTypeDef sMasterConfig = {0};
  TIM_OC_InitTypeDef sConfigOC = {0};

  htim3.Instance = TIM3;
  htim3.Init.Prescaler = 0;
  htim3.Init.CounterMode = TIM_COUNTERMODE_UP;
  htim3.Init.Period = 15999;
  htim3.Init.ClockDivision = TIM_CLOCKDIVISION_DIV1;
  htim3.Init.AutoReloadPreload = TIM_AUTORELOAD_PRELOAD_DISABLE;
  if (HAL_TIM_Base_Init(&htim3) != HAL_OK)
  {
    Error_Handler();
  }
  sClockSourceConfig.ClockSource = TIM_CLOCKSOURCE_INTERNAL;
  if (HAL_TIM_ConfigClockSource(&htim3, &sClockSourceConfig) != HAL_OK)
  {
    Error_Handler();
  }
  if (HAL_TIM_PWM_Init(&htim3) != HAL_OK)
  {
    Error_Handler();
  }
  sMasterConfig.MasterOutputTrigger = TIM_TRGO_RESET;
  sMasterConfig.MasterSlaveMode = TIM_MASTERSLAVEMODE_DISABLE;
  if (HAL_TIMEx_MasterConfigSynchronization(&htim3, &sMasterConfig) != HAL_OK)
  {
    Error_Handler();
  }
  sConfigOC.OCMode = TIM_OCMODE_PWM1;
  sConfigOC.Pulse = 0;
  sConfigOC.OCPolarity = TIM_OCPOLARITY_HIGH;
  sConfigOC.OCFastMode = TIM_OCFAST_DISABLE;
  if (HAL_TIM_PWM_ConfigChannel(&htim3, &sConfigOC, TIM_CHANNEL_1) != HAL_OK)
  {
    Error_Handler();
  }
  HAL_TIM_MspPostInit(&htim3);

}

static void MX_TIM4_Init(void)
{

  TIM_ClockConfigTypeDef sClockSourceConfig = {0};
  TIM_MasterConfigTypeDef sMasterConfig = {0};

  htim4.Instance = TIM4;
  htim4.Init.Prescaler = 999;
  htim4.Init.CounterMode = TIM_COUNTERMODE_UP;
  htim4.Init.Period = 15999;
  htim4.Init.ClockDivision = TIM_CLOCKDIVISION_DIV1;
  htim4.Init.AutoReloadPreload = TIM_AUTORELOAD_PRELOAD_DISABLE;
  if (HAL_TIM_Base_Init(&htim4) != HAL_OK)
  {
    Error_Handler();
  }
  sClockSourceConfig.ClockSource = TIM_CLOCKSOURCE_INTERNAL;
  if (HAL_TIM_ConfigClockSource(&htim4, &sClockSourceConfig) != HAL_OK)
  {
    Error_Handler();
  }
  sMasterConfig.MasterOutputTrigger = TIM_TRGO_UPDATE;
  sMasterConfig.MasterSlaveMode = TIM_MASTERSLAVEMODE_DISABLE;
  if (HAL_TIMEx_MasterConfigSynchronization(&htim4, &sMasterConfig) != HAL_OK)
  {
    Error_Handler();
  }

}

static void MX_DMA_Init(void)
{

  /* DMA controller clock enable */
  __HAL_RCC_DMA2_CLK_ENABLE();

  /* DMA interrupt init */
  /* DMA2_Stream0_IRQn interrupt configuration */
  HAL_NVIC_SetPriority(DMA2_Stream0_IRQn, 0, 0);
  HAL_NVIC_EnableIRQ(DMA2_Stream0_IRQn);

}

static void MX_GPIO_Init(void)
{
  GPIO_InitTypeDef GPIO_InitStruct = {0};

  /* GPIO Ports Clock Enable */
  __HAL_RCC_GPIOC_CLK_ENABLE();
  __HAL_RCC_GPIOH_CLK_ENABLE();
  __HAL_RCC_GPIOA_CLK_ENABLE();
  __HAL_RCC_GPIOB_CLK_ENABLE();

  /*Configure GPIO pin Output Level */
  HAL_GPIO_WritePin(GPIOA, GPIO_PIN_7|GPIO_PIN_9|GPIO_PIN_10|GPIO_PIN_11, GPIO_PIN_RESET);

  /*Configure GPIO pins : PA7 PA9 PA10 PA11 */
  GPIO_InitStruct.Pin = GPIO_PIN_7|GPIO_PIN_9|GPIO_PIN_10|GPIO_PIN_11;
  GPIO_InitStruct.Mode = GPIO_MODE_OUTPUT_PP;
  GPIO_InitStruct.Pull = GPIO_NOPULL;
  GPIO_InitStruct.Speed = GPIO_SPEED_FREQ_LOW;
  HAL_GPIO_Init(GPIOA, &GPIO_InitStruct);

  /*Configure GPIO pins : PB0 PB1 PB3 */
  GPIO_InitStruct.Pin = GPIO_PIN_0|GPIO_PIN_1|GPIO_PIN_3;
  GPIO_InitStruct.Mode = GPIO_MODE_INPUT;
  GPIO_InitStruct.Pull = GPIO_NOPULL;
  HAL_GPIO_Init(GPIOB, &GPIO_InitStruct);

  /*Configure GPIO pin : PB2 */
  GPIO_InitStruct.Pin = GPIO_PIN_2;
  GPIO_InitStruct.Mode = GPIO_MODE_IT_RISING;
  GPIO_InitStruct.Pull = GPIO_NOPULL;
  HAL_GPIO_Init(GPIOB, &GPIO_InitStruct);

}

void Error_Handler(void)
{
  /* USER CODE BEGIN Error_Handler_Debug */
 /* User can add his own implementation to report the HAL error return state */
 __disable_irq();
 while (1)
 {
	  // Exibe ERRO no LCD se necessário
 }
  /* USER CODE END Error_Handler_Debug */
}
